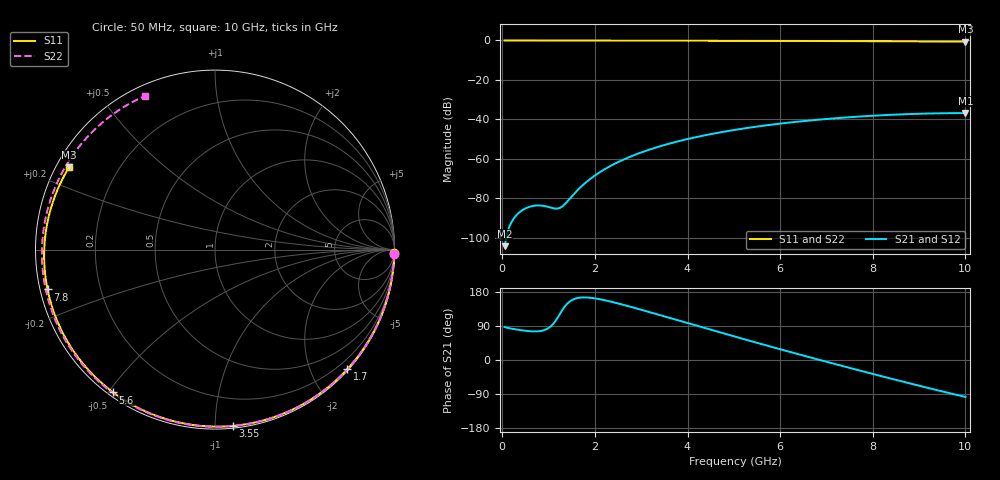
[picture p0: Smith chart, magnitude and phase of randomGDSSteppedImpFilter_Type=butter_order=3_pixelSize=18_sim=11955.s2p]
! freq	dB(S11)	phase(S11)	dB(S12)	phase(S12)
!  dB(S21)	phase(S21)	dB(S22)	phase(S22)
!S-par simulation data
#  GHz  S  DB  R 50
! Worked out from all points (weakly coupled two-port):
!   200 points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, 50 MHz to 10 GHz, reference 50 ohm
!   highest |S21| = -36.81 dB at 10 GHz (marker M1); lowest = -104.3 dB at 50 MHz (marker M2)
!   lowest |S11| = -0.6 dB at 10 GHz (marker M3), VSWR 29.09, Z = 1.84 + j13.1 ohm
!   |S11| at or under -10 dB: nowhere
!   |S22| runs from -0.5 to 0.0 dB; largest |S21 - S12| = 0
!   S11 on the Smith chart (normalised r, x): 50 MHz: 1, -93; 1.7 GHz: 0.02, -2.60; 3.55 GHz: 0.01, -1.11; 5.6 GHz: 0.01, -0.52; 7.8 GHz: 0.02, -0.12; 10 GHz: 0.04, +0.26
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0.05  -0.00 -1.2  -104.28 87.1  -104.28 87.1  -0.01 -1.5
0.4  -0.02 -10.1  -86.58 78.7  -86.58 78.7  -0.02 -12.4
0.7  -0.02 -17.6  -83.74 75.3  -83.74 75.3  -0.03 -21.6
1.05  -0.03 -26.3  -84.76 89.2  -84.76 89.2  -0.04 -32.2
1.45  -0.05 -36.1  -80.42 153.8  -80.42 153.8  -0.05 -44.0
1.7  -0.05 -42.1  -74.17 164.9  -74.17 164.9  -0.06 -51.3
1.75  -0.05 -43.3  -73.10 165.2  -73.10 165.2  -0.07 -52.7
2.05  -0.06 -50.4  -67.65 161.6  -67.65 161.6  -0.08 -61.2
2.45  -0.08 -59.7  -62.24 150.9  -62.24 150.9  -0.09 -72.2
2.9  -0.09 -69.9  -57.65 136.1  -57.65 136.1  -0.10 -84.1
3.4  -0.11 -80.9  -53.70 118.7  -53.70 118.7  -0.12 -96.9
3.55  -0.11 -84.1  -52.68 113.4  -52.68 113.4  -0.13 -100.6
4.25  -0.14 -98.8  -48.68 88.7  -48.68 88.7  -0.15 -117.3
5.05  -0.17 -114.8  -45.22 60.7  -45.22 60.7  -0.19 -135.5
5.6  -0.20 -125.5  -43.33 41.9  -43.33 41.9  -0.22 -147.5
6.15  -0.23 -135.9  -41.75 23.4  -41.75 23.4  -0.25 -159.4
6.7  -0.27 -146.2  -40.43 5.1  -40.43 5.1  -0.29 -171.1
7.25  -0.32 -156.4  -39.34 -12.8  -39.34 -12.8  -0.33 177.2
7.8  -0.36 -166.6  -38.44 -30.4  -38.44 -30.4  -0.37 165.3
8.35  -0.42 -176.9  -37.74 -47.8  -37.74 -47.8  -0.41 153.2
9.15  -0.50 167.7  -37.07 -72.4  -37.07 -72.4  -0.47 134.9
10  -0.60 150.5  -36.81 -97.4  -36.81 -97.4  -0.53 114.5
